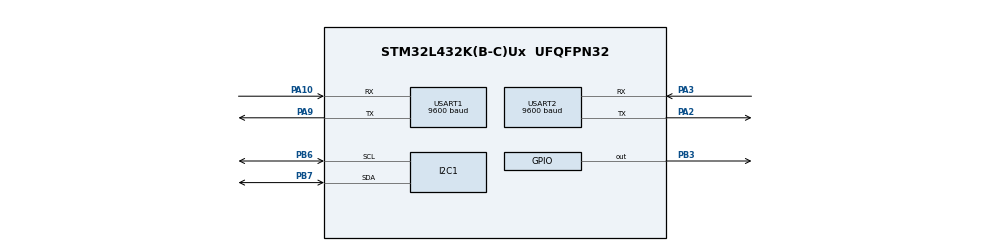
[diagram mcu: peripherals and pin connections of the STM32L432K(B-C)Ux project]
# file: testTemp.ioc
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Mcu.Family=STM32L4
Mcu.Name=STM32L432K(B-C)Ux
Mcu.Package=UFQFPN32
NVIC.PriorityGroup=NVIC_PRIORITYGROUP_4
NVIC.USART1_IRQn=true\:0\:0\:false\:false\:true\:true\:true
NVIC.USART2_IRQn=true\:0\:0\:false\:false\:true\:true\:true
PA10.Mode=Asynchronous
PA10.Signal=USART1_RX
PA13\ (JTMS-SWDIO).Mode=Serial_Wire
PA13\ (JTMS-SWDIO).Signal=SYS_JTMS-SWDIO
PA14\ (JTCK-SWCLK).Mode=Serial_Wire
PA14\ (JTCK-SWCLK).Signal=SYS_JTCK-SWCLK
PA2.Mode=Asynchronous
PA2.Signal=USART2_TX
PA3.Mode=Asynchronous
PA3.Signal=USART2_RX
PA9.Mode=Asynchronous
PA9.Signal=USART1_TX
PB3\ (JTDO-TRACESWO).Signal=GPIO_Output
PB6.Mode=I2C
PB6.Signal=I2C1_SCL
PB7.Mode=I2C
PB7.Signal=I2C1_SDA
PC14-OSC32_IN\ (PC14).Mode=LSE-External-Oscillator
PC14-OSC32_IN\ (PC14).Signal=RCC_OSC32_IN
PC15-OSC32_OUT\ (PC15).Mode=LSE-External-Oscillator
PC15-OSC32_OUT\ (PC15).Signal=RCC_OSC32_OUT
ProjectManager.HeapSize=0x200
ProjectManager.StackSize=0x400
ProjectManager.TargetToolchain=MDK-ARM V5
RCC.HSE_VALUE=8000000
RCC.HSI48_VALUE=48000000
RCC.HSI_VALUE=16000000
RCC.MSI_VALUE=4000000
RCC.VCOOutputFreq_Value=32000000
USART1.BaudRate=9600
USART1.VirtualMode-Asynchronous=VM_ASYNC
USART2.BaudRate=9600
USART2.VirtualMode-Asynchronous=VM_ASYNC
board=custom

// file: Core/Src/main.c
/* USER CODE BEGIN Header */
/**
  ******************************************************************************
  * @file           : main.c
  * @brief          : Main program body
  ******************************************************************************
  * @attention
  *
  * <h2><center>&copy; Copyright (c) 2021 STMicroelectronics.
  * All rights reserved.</center></h2>
  *
  * This software component is licensed by ST under BSD 3-Clause license,
  * the "License"; You may not use this file except in compliance with the
  * License. You may obtain a copy of the License at:
  *                        opensource.org/licenses/BSD-3-Clause
  *
  ******************************************************************************
  */
/* USER CODE END Header */
#include "main.h"

I2C_HandleTypeDef hi2c1;

UART_HandleTypeDef huart1;
UART_HandleTypeDef huart2;

void SystemClock_Config(void);
static void MX_GPIO_Init(void);
static void MX_I2C1_Init(void);
static void MX_USART1_UART_Init(void);
static void MX_USART2_UART_Init(void);

/* USER CODE BEGIN 0 */
	uint8_t hexToAscii(uint8_t n) //4-bit hex value converted to an ascii character
{
	if (n>=0 && n<=9)
			n = n + '0';
	else
		n = n - 10 + 'A';
	return n;
}

/* USER CODE END 0 */

int main(void)
{

  /* MCU Configuration--------------------------------------------------------*/

  /* Reset of all peripherals, Initializes the Flash interface and the Systick. */
  HAL_Init();

  /* Configure the system clock */
  SystemClock_Config();

  /* Initialize all configured peripherals */
  MX_GPIO_Init();
  MX_I2C1_Init();
  MX_USART1_UART_Init();
  MX_USART2_UART_Init();
  /* USER CODE BEGIN 2 */
//check that device is ready to operate
	if (HAL_I2C_IsDeviceReady(&hi2c1, 0xD0, 10, HAL_MAX_DELAY) == HAL_OK)
{
	for (int i = 1; i<=10;i++) // indicator of ready device
	{
		HAL_GPIO_TogglePin(GPIOB, GPIO_PIN_3);
		HAL_Delay(250);
	}
}
//Transmit via I2C to set clock
	uint8_t secbuffer [2], minbuffer [2], hourbuffer [2], alarmBufferSec[2], alarmBufferMin[2],
					alarmBufferHour[2], alaramControl[2], alaramControlStatus[2], alarmDay[2],
					tempLSB[2], tempMSB[2];
//Receive via I2C and forward to UART
	uint8_t out[] = {0,0,'.',0,0,'\r','\n'};

	tempMSB[0] = 0x11;
	tempLSB[0] = 0x12;

  /* USER CODE END 2 */

  /* Infinite loop */
  /* USER CODE BEGIN WHILE */
	__HAL_UART_ENABLE_IT(&huart1, UART_IT_RXNE);
  while (1)
  {
		//send to register address 11h
		HAL_I2C_Master_Transmit(&hi2c1, 0xD0, tempMSB, 1, 10);
		//read data of register 11h to tempMSP[1]
		HAL_I2C_Master_Receive(&hi2c1, 0xD1, tempMSB+1, 1, 10);

		//send to register address 11h
		HAL_I2C_Master_Transmit(&hi2c1, 0xD0, tempLSB, 1, 10);
		//read data of register 11h to tempMSP[1]
		HAL_I2C_Master_Receive(&hi2c1, 0xD1, tempLSB+1, 1, 10);

				if (tempMSB[1] >= 0x1A)
		{
			HAL_GPIO_WritePin(GPIOB, GPIO_PIN_3, GPIO_PIN_SET);
			HAL_Delay(300);
			HAL_GPIO_WritePin(GPIOB, GPIO_PIN_3, GPIO_PIN_RESET);
			HAL_Delay(300);

			HAL_GPIO_WritePin(GPIOB, GPIO_PIN_3, GPIO_PIN_SET);
			HAL_Delay(300);
			HAL_GPIO_WritePin(GPIOB, GPIO_PIN_3, GPIO_PIN_RESET);
			HAL_Delay(300);

			HAL_GPIO_WritePin(GPIOB, GPIO_PIN_3, GPIO_PIN_SET);
			HAL_Delay(300);
			HAL_GPIO_WritePin(GPIOB, GPIO_PIN_3, GPIO_PIN_RESET);
			HAL_Delay(300);
		}

		//prepare UART output
		//out[2] = tempMSB[1] %10 +'0';
		//tempMSB[1] = tempMSB[1]/10;

		out[1] = tempMSB[1] %10 +'0';
		tempMSB[1] = tempMSB[1]/10;

		out[0] = tempMSB[1] %10 +'0';
		tempMSB[1] = tempMSB[1]/10;

		//out[6] = tempLSB[1] %10 +'0';
		//tempLSB[1] = tempLSB[1]/10;

		out[4] = tempLSB[1] %10 +'0';
		tempLSB[1] = tempLSB[1]/10;

		out[3] = tempLSB[1] %10 +'0';
		tempLSB[1] = tempLSB[1]/10;

		/*hexToAscii((tempMSB[1] >> 4) & 1);
		out[1] = hexToAscii(tempMSB[1] & 0x0F);

		out[3] = hexToAscii(tempLSB[1] >> 4 );
		out[4] = hexToAscii(tempLSB[1] & 0x0F );
		*/
		HAL_UART_Transmit(&huart2,out, sizeof(out), 10);

		HAL_Delay(1000);
    /* USER CODE END WHILE */

  }
}

void SystemClock_Config(void)
{
  RCC_OscInitTypeDef RCC_OscInitStruct = {0};
  RCC_ClkInitTypeDef RCC_ClkInitStruct = {0};
  RCC_PeriphCLKInitTypeDef PeriphClkInit = {0};

  /** Configure LSE Drive Capability
  */
  HAL_PWR_EnableBkUpAccess();
  __HAL_RCC_LSEDRIVE_CONFIG(RCC_LSEDRIVE_LOW);
  /** Initializes the RCC Oscillators according to the specified parameters
  * in the RCC_OscInitTypeDef structure.
  */
  RCC_OscInitStruct.OscillatorType = RCC_OSCILLATORTYPE_LSE|RCC_OSCILLATORTYPE_MSI;
  RCC_OscInitStruct.LSEState = RCC_LSE_ON;
  RCC_OscInitStruct.MSIState = RCC_MSI_ON;
  RCC_OscInitStruct.MSICalibrationValue = 0;
  RCC_OscInitStruct.MSIClockRange = RCC_MSIRANGE_6;
  RCC_OscInitStruct.PLL.PLLState = RCC_PLL_NONE;
  if (HAL_RCC_OscConfig(&RCC_OscInitStruct) != HAL_OK)
  {
    Error_Handler();
  }
  /** Initializes the CPU, AHB and APB buses clocks
  */
  RCC_ClkInitStruct.ClockType = RCC_CLOCKTYPE_HCLK|RCC_CLOCKTYPE_SYSCLK
                              |RCC_CLOCKTYPE_PCLK1|RCC_CLOCKTYPE_PCLK2;
  RCC_ClkInitStruct.SYSCLKSource = RCC_SYSCLKSOURCE_MSI;
  RCC_ClkInitStruct.AHBCLKDivider = RCC_SYSCLK_DIV1;
  RCC_ClkInitStruct.APB1CLKDivider = RCC_HCLK_DIV1;
  RCC_ClkInitStruct.APB2CLKDivider = RCC_HCLK_DIV1;

  if (HAL_RCC_ClockConfig(&RCC_ClkInitStruct, FLASH_LATENCY_0) != HAL_OK)
  {
    Error_Handler();
  }
  PeriphClkInit.PeriphClockSelection = RCC_PERIPHCLK_USART1|RCC_PERIPHCLK_USART2
                              |RCC_PERIPHCLK_I2C1;
  PeriphClkInit.Usart1ClockSelection = RCC_USART1CLKSOURCE_PCLK2;
  PeriphClkInit.Usart2ClockSelection = RCC_USART2CLKSOURCE_PCLK1;
  PeriphClkInit.I2c1ClockSelection = RCC_I2C1CLKSOURCE_PCLK1;
  if (HAL_RCCEx_PeriphCLKConfig(&PeriphClkInit) != HAL_OK)
  {
    Error_Handler();
  }
  /** Configure the main internal regulator output voltage
  */
  if (HAL_PWREx_ControlVoltageScaling(PWR_REGULATOR_VOLTAGE_SCALE1) != HAL_OK)
  {
    Error_Handler();
  }
  /** Enable MSI Auto calibration
  */
  HAL_RCCEx_EnableMSIPLLMode();
}

static void MX_I2C1_Init(void)
{

  hi2c1.Instance = I2C1;
  hi2c1.Init.Timing = 0x00000E14;
  hi2c1.Init.OwnAddress1 = 0;
  hi2c1.Init.AddressingMode = I2C_ADDRESSINGMODE_7BIT;
  hi2c1.Init.DualAddressMode = I2C_DUALADDRESS_DISABLE;
  hi2c1.Init.OwnAddress2 = 0;
  hi2c1.Init.OwnAddress2Masks = I2C_OA2_NOMASK;
  hi2c1.Init.GeneralCallMode = I2C_GENERALCALL_DISABLE;
  hi2c1.Init.NoStretchMode = I2C_NOSTRETCH_DISABLE;
  if (HAL_I2C_Init(&hi2c1) != HAL_OK)
  {
    Error_Handler();
  }
  /** Configure Analogue filter
  */
  if (HAL_I2CEx_ConfigAnalogFilter(&hi2c1, I2C_ANALOGFILTER_ENABLE) != HAL_OK)
  {
    Error_Handler();
  }
  /** Configure Digital filter
  */
  if (HAL_I2CEx_ConfigDigitalFilter(&hi2c1, 0) != HAL_OK)
  {
    Error_Handler();
  }

}

static void MX_USART1_UART_Init(void)
{

  huart1.Instance = USART1;
  huart1.Init.BaudRate = 9600;
  huart1.Init.WordLength = UART_WORDLENGTH_8B;
  huart1.Init.StopBits = UART_STOPBITS_1;
  huart1.Init.Parity = UART_PARITY_NONE;
  huart1.Init.Mode = UART_MODE_TX_RX;
  huart1.Init.HwFlowCtl = UART_HWCONTROL_NONE;
  huart1.Init.OverSampling = UART_OVERSAMPLING_16;
  huart1.Init.OneBitSampling = UART_ONE_BIT_SAMPLE_DISABLE;
  huart1.AdvancedInit.AdvFeatureInit = UART_ADVFEATURE_NO_INIT;
  if (HAL_UART_Init(&huart1) != HAL_OK)
  {
    Error_Handler();
  }

}

static void MX_USART2_UART_Init(void)
{

  huart2.Instance = USART2;
  huart2.Init.BaudRate = 9600;
  huart2.Init.WordLength = UART_WORDLENGTH_8B;
  huart2.Init.StopBits = UART_STOPBITS_1;
  huart2.Init.Parity = UART_PARITY_NONE;
  huart2.Init.Mode = UART_MODE_TX_RX;
  huart2.Init.HwFlowCtl = UART_HWCONTROL_NONE;
  huart2.Init.OverSampling = UART_OVERSAMPLING_16;
  huart2.Init.OneBitSampling = UART_ONE_BIT_SAMPLE_DISABLE;
  huart2.AdvancedInit.AdvFeatureInit = UART_ADVFEATURE_NO_INIT;
  if (HAL_UART_Init(&huart2) != HAL_OK)
  {
    Error_Handler();
  }

}

static void MX_GPIO_Init(void)
{
  GPIO_InitTypeDef GPIO_InitStruct = {0};

  /* GPIO Ports Clock Enable */
  __HAL_RCC_GPIOC_CLK_ENABLE();
  __HAL_RCC_GPIOA_CLK_ENABLE();
  __HAL_RCC_GPIOB_CLK_ENABLE();

  /*Configure GPIO pin Output Level */
  HAL_GPIO_WritePin(GPIOB, GPIO_PIN_3, GPIO_PIN_RESET);

  /*Configure GPIO pin : PB3 */
  GPIO_InitStruct.Pin = GPIO_PIN_3;
  GPIO_InitStruct.Mode = GPIO_MODE_OUTPUT_PP;
  GPIO_InitStruct.Pull = GPIO_NOPULL;
  GPIO_InitStruct.Speed = GPIO_SPEED_FREQ_LOW;
  HAL_GPIO_Init(GPIOB, &GPIO_InitStruct);

}

void Error_Handler(void)
{
  __disable_irq();
  while (1)
  {
  }
}

/************************ (C) COPYRIGHT STMicroelectronics *****END OF FILE****/
